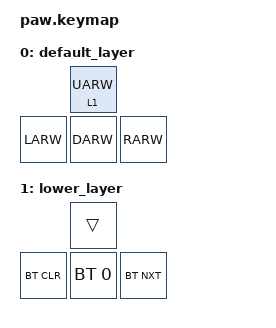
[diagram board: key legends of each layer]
#include <behaviors.dtsi>
#include <dt-bindings/zmk/keys.h>
#include <dt-bindings/zmk/bt.h>

/ {
  keymap {
    compatible = "zmk,keymap";

    default_layer {
// -----------------------------------------------------------------------------------------
// TODO: Add diagram for keymap
      bindings = <
                 &lt 1 UARW
        &kp LARW &kp DARW &kp RARW
      >;
    };

    lower_layer {
      bindings = <
              &trans
        &bt BT_CLR &bt BT_SEL 0 &bt BT_NXT
      >;
    };
  };
};
